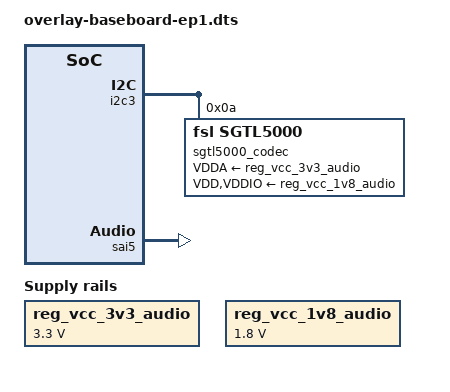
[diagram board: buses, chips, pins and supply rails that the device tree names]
/*
 * Copyright (C) 2022 Avnet Embedded GmbH
 *
 * This program is free software; you can redistribute it and/or
 * modify it under the terms of the GNU General Public License as
 * published by the Free Software Foundation version 2.
 *
 * This program is distributed "as is" WITHOUT ANY WARRANTY of any
 * kind, whether express or implied; without even the implied warranty
 * of MERCHANTABILITY or FITNESS FOR A PARTICULAR PURPOSE.  See the
 * GNU General Public License for more details.
 */

/dts-v1/;
/plugin/;

#include <dt-bindings/clock/imx8mn-clock.h>
#include <dt-bindings/gpio/gpio.h>

/ {
	fragment@1000 {
		target-path = "/";
		__overlay__ {
			reg_vcc_3v3_audio: 3v3_audio_regulator {
				compatible = "regulator-fixed";
				regulator-name = "3V3_AUD";
				regulator-min-microvolt = <3300000>;
				regulator-max-microvolt = <3300000>;
			};
		};
	};

	fragment@1001 {
		target-path = "/";
		__overlay__ {
			reg_vcc_1v8_audio: 1v8_audio_regulator {
				compatible = "regulator-fixed";
				regulator-name = "1V8_AUD";
				regulator-min-microvolt = <1800000>;
				regulator-max-microvolt = <1800000>;
			};
		};
	};

	fragment@1002 {
		target-path = "/";
		__overlay__ {
			sgtl5000_sound: sgtl5000-sound {
				compatible = "fsl,imx-audio-sgtl5000";
				model = "imx-sgtl5000";
				audio-cpu = <&sai5>;
				audio-codec = <&sgtl5000_codec>;
				audio-routing =
						"LINE_IN", "Line In Jack",
						"MIC_IN", "Mic Jack",
						"Mic Jack", "Mic Bias",
						"Headphone Jack", "HP_OUT";
			};
		};
	};

	fragment@1003 {
		target = <&i2c3>;
		__overlay__ {
			#address-cells = <1>;
			#size-cells = <0>;
			sgtl5000_codec: sgtl5000@a {
				compatible = "fsl,sgtl5000";
				reg = <0x0a>;
				clocks = <&clk IMX8MN_CLK_CLKOUT1>;
				clock-names = "audio_mclk";
				VDDA-supply = <&reg_vcc_3v3_audio>;
				VDD-supply = <&reg_vcc_1v8_audio>;
				VDDIO-supply = <&reg_vcc_1v8_audio>;
			};
		};
	};

	fragment@1006 {
		target = <&sai5>;
		__overlay__ {
			status = "okay";
		};
	};

	fragment@1007 {
		target = <&usdhc2>;
		__overlay__ {
			no-1-8-v;
		};
	};

	fragment@1008 {
		target = <&ecspi1>;
		__overlay__ {
			spi-max-frequency = <20000000>;
		};
	};

	fragment@1009 {
		target = <&ecspi2>;
		__overlay__ {
			spi-max-frequency = <20000000>;
		};
	};

	fragment@1010 {
		target = <&spidev1_0>;
		__overlay__ {
			compatible = "jedec,spi-nor";
			spi-max-frequency = <20000000>;
		};
	};

	fragment@1011 {
		target = <&spidev1_1>;
		__overlay__ {
			compatible = "jedec,spi-nor";
			spi-max-frequency = <20000000>;
		};
	};

	fragment@1012 {
		target = <&spidev2_0>;
		__overlay__ {
			compatible = "jedec,spi-nor";
			spi-max-frequency = <20000000>;
		};
	};

	fragment@1013 {
		target = <&spidev2_1>;
		__overlay__ {
			compatible = "jedec,spi-nor";
			spi-max-frequency = <20000000>;
		};
	};
};
